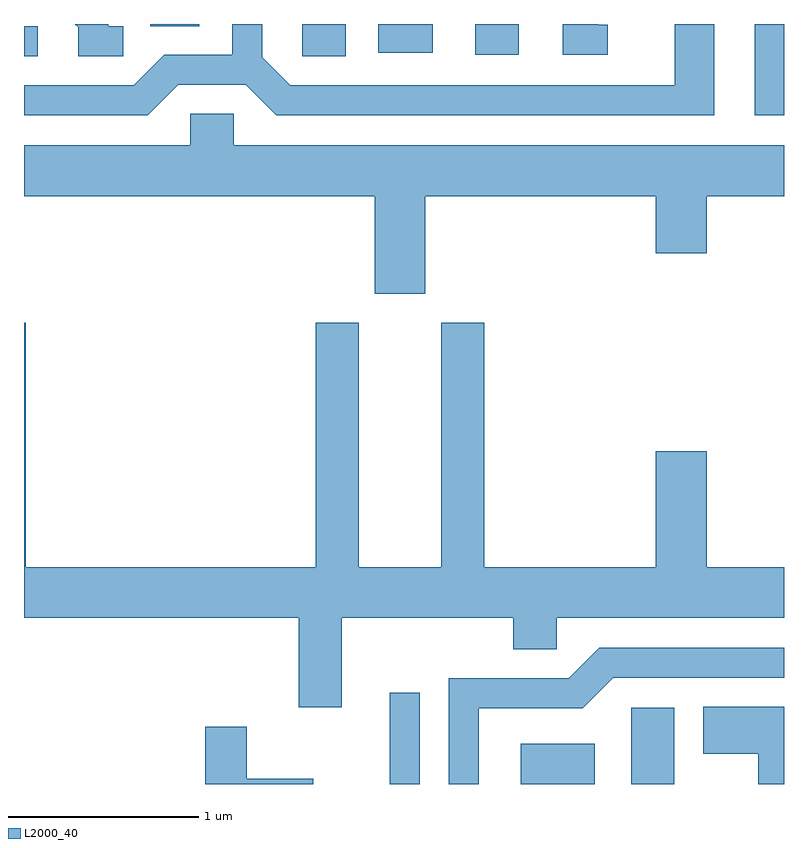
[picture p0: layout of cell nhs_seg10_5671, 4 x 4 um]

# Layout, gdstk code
import gdstk
lib = gdstk.Library(unit=1e-6, precision=1e-09)
def R(c, l, rs):  # rectangles x0, y0, x1, y1
    for r in rs: c.add(gdstk.rectangle(r[:2], r[2:], *l))
def P(c, l, *ps):  # polygons
    for p in ps: c.add(gdstk.Polygon(p, *l))
L2000_40 = (2000, 40)

nhs_seg10_5671 = lib.new_cell('nhs_seg10_5671')
R(nhs_seg10_5671, L2000_40, [(353.536,2188.522,353.694,2189.003), (354.226,2188.522,354.614,2188.734), (354.806,2188.522,355.034,2188.924), (355.456,2192.041,355.611,2192.522), (351.611,2192.351,351.683,2192.509), (353.076,2192.351,353.304,2192.522), (353.986,2192.361,354.214,2192.522), (353.476,2192.371,353.763,2192.522), (352.276,2192.511,352.534,2192.522)])
P(nhs_seg10_5671, L2000_40, [(352.133,2192.509),(352.054,2192.509),(352.054,2192.522),(351.878,2192.522),(351.896,2192.504),(351.896,2192.351),(352.133,2192.351)],
  [(352.422,2192.201),(352.779,2192.201),(352.939,2192.041),(355.244,2192.041),(355.244,2192.522),(355.036,2192.522),(355.036,2192.199),(353.012,2192.199),(352.864,2192.347),(352.864,2192.522),(352.706,2192.522),(352.706,2192.359),(352.349,2192.359),(352.189,2192.199),(351.611,2192.199),(351.611,2192.041),(352.262,2192.041)],
  [(354.683,2192.519),(354.634,2192.519),(354.634,2192.522),(354.446,2192.522),(354.446,2192.361),(354.683,2192.361)],
  [(353.724,2191.616),(354.936,2191.616),(354.936,2191.316),(355.204,2191.316),(355.204,2191.616),(355.611,2191.616),(355.611,2191.884),(352.714,2191.884),(352.714,2192.049),(352.486,2192.049),(352.486,2191.884),(351.611,2191.884),(351.611,2191.616),(353.456,2191.616),(353.456,2191.101),(353.724,2191.101)],
  [(353.284,2189.396),(354.186,2189.396),(354.186,2189.231),(354.414,2189.231),(354.414,2189.396),(355.611,2189.396),(355.611,2189.664),(355.204,2189.664),(355.204,2190.274),(354.936,2190.274),(354.936,2189.664),(354.034,2189.664),(354.034,2190.949),(353.806,2190.949),(353.806,2189.664),(353.374,2189.664),(353.374,2190.949),(353.146,2190.949),(353.146,2189.664),(351.619,2189.664),(351.619,2190.949),(351.611,2190.949),(351.611,2189.396),(353.056,2189.396),(353.056,2188.926),(353.284,2188.926)],
  [(354.004,2188.921),(354.552,2188.921),(354.712,2189.081),(355.611,2189.081),(355.611,2189.239),(354.639,2189.239),(354.479,2189.079),(353.846,2189.079),(353.846,2188.522),(354.004,2188.522)],
  [(355.611,2188.929),(355.186,2188.929),(355.186,2188.681),(355.476,2188.681),(355.476,2188.522),(355.611,2188.522)],
  [(353.134,2188.549),(352.784,2188.549),(352.784,2188.824),(352.566,2188.824),(352.566,2188.522),(353.134,2188.522)])

lib.write_gds('nhs_seg10_5671.gds')
